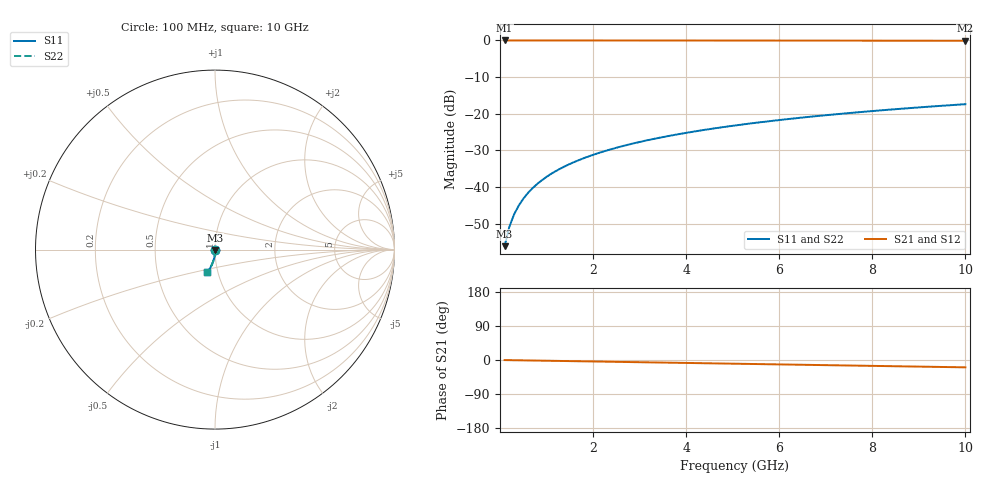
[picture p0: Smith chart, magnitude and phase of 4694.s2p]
# Hz S RI R 50.00
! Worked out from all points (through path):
!   100 points, 100 MHz to 10 GHz, reference 50 ohm
!   highest |S21| = -0.01 dB at 100 MHz (marker M1); lowest = -0.1 dB at 10 GHz (marker M2)
!   group delay of S21, straight-line fit = 5.38 ps
!   lowest |S11| = -56.1 dB at 100 MHz (marker M3), VSWR 1.00, Z = 50.1 - j0.138 ohm
!   |S11| at or under -10 dB: start of sweep to end of sweep
!   |S22| runs from -56.1 to -17.4 dB; largest |S21 - S12| = 0
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1e8  0.000735 -0.00138  0.9992 -0.00338  0.9992 -0.00338  0.000735 -0.00138
2e8  0.000724 -0.00275  0.9992 -0.00676  0.9992 -0.00676  0.000724 -0.00275
3e8  0.000702 -0.00413  0.9992 -0.0101  0.9992 -0.0101  0.000702 -0.00413
4e8  0.00067 -0.0055  0.9991 -0.0135  0.9991 -0.0135  0.00067 -0.0055
5e8  0.000628 -0.00688  0.9991 -0.0169  0.9991 -0.0169  0.000628 -0.00688
6e8  0.000577 -0.00825  0.999 -0.0203  0.999 -0.0203  0.000577 -0.00825
7e8  0.000517 -0.00963  0.9989 -0.0237  0.9989 -0.0237  0.000517 -0.00963
8e8  0.000447 -0.011  0.9988 -0.027  0.9988 -0.027  0.000447 -0.011
9e8  0.000367 -0.0124  0.9987 -0.0304  0.9987 -0.0304  0.000367 -0.0124
1.1e9  0.00018 -0.0151  0.9984 -0.0372  0.9984 -0.0372  0.00018 -0.0151
1.4e9  -0.000171 -0.0192  0.9979 -0.0473  0.9979 -0.0473  -0.000171 -0.0192
1.8e9  -0.000769 -0.0247  0.997 -0.0608  0.997 -0.0608  -0.000769 -0.0247
2.1e9  -0.00131 -0.0288  0.9962 -0.0709  0.9962 -0.0709  -0.00131 -0.0288
2.5e9  -0.00217 -0.0342  0.995 -0.0844  0.995 -0.0844  -0.00217 -0.0342
2.9e9  -0.00318 -0.0397  0.9935 -0.0978  0.9935 -0.0978  -0.00318 -0.0397
3.4e9  -0.00464 -0.0464  0.9914 -0.1146  0.9914 -0.1146  -0.00464 -0.0464
4.2e9  -0.00745 -0.0571  0.9874 -0.1413  0.9874 -0.1413  -0.00745 -0.0571
5.1e9  -0.0113 -0.0689  0.9818 -0.1712  0.9818 -0.1712  -0.0113 -0.0689
5.9e9  -0.0153 -0.0791  0.976 -0.1975  0.976 -0.1975  -0.0153 -0.0791
6.7e9  -0.0199 -0.0892  0.9694 -0.2236  0.9694 -0.2236  -0.0199 -0.0892
8.4e9  -0.0313 -0.1096  0.9526 -0.2783  0.9526 -0.2783  -0.0313 -0.1096
1e10  -0.0442 -0.1275  0.9337 -0.3284  0.9337 -0.3284  -0.0442 -0.1275
